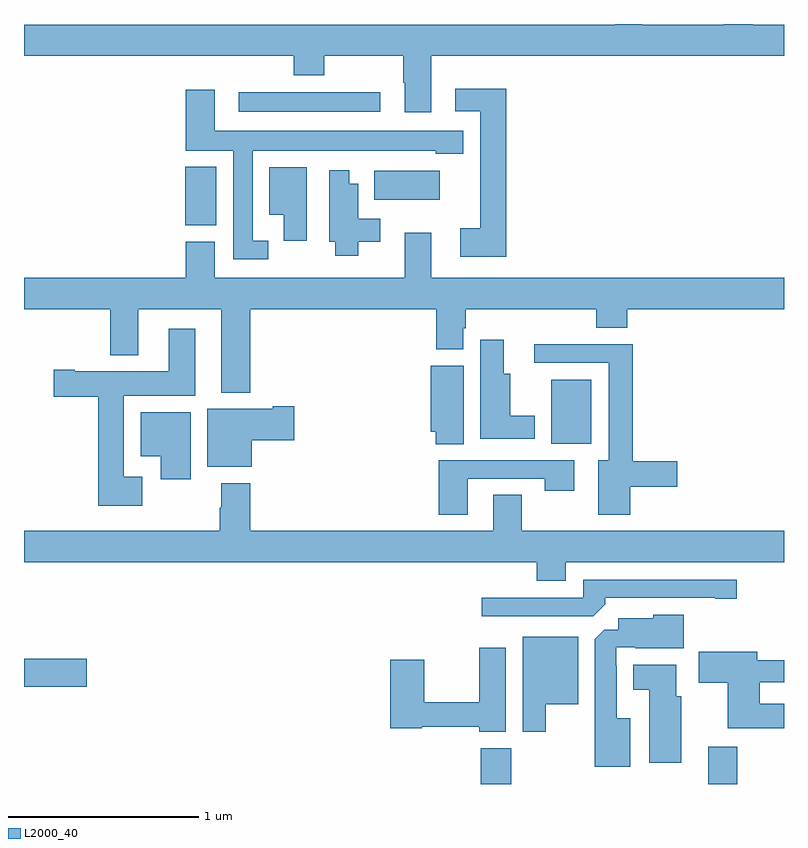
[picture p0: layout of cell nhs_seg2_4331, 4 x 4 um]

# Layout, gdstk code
import gdstk
lib = gdstk.Library(unit=1e-6, precision=1e-09)
def R(c, l, rs):  # rectangles x0, y0, x1, y1
    for r in rs: c.add(gdstk.rectangle(r[:2], r[2:], *l))
def P(c, l, *ps):  # polygons
    for p in ps: c.add(gdstk.Polygon(p, *l))
L2000_40 = (2000, 40)

nhs_seg2_4331 = lib.new_cell('nhs_seg2_4331')
R(nhs_seg2_4331, L2000_40, [(347.405,647.8,347.565,647.989), (348.602,647.8,348.755,647.995), (345,648.311,345.331,648.458), (347.774,649.592,347.986,649.927), (345.848,650.74,346.012,651.049), (346.844,650.876,347.188,651.028), (346.131,651.338,346.876,651.442)])
P(nhs_seg2_4331, L2000_40, [(347.143,651.632),(349,651.632),(349,651.796),(348.836,651.796),(348.836,651.8),(348.683,651.8),(348.683,651.796),(348.253,651.796),(348.253,651.8),(348.113,651.8),(348.113,651.796),(345,651.796),(345,651.632),(346.421,651.632),(346.421,651.53),(346.581,651.53),(346.581,651.632),(346.996,651.632),(346.996,651.492),(347.003,651.492),(347.003,651.336),(347.143,651.336)],
  [(347.537,651.46),(347.271,651.46),(347.271,651.341),(347.402,651.341),(347.402,650.724),(347.295,650.724),(347.295,650.576),(347.537,650.576)],
  [(346.286,650.658),(346.204,650.658),(346.204,651.134),(347.166,651.134),(347.166,651.116),(347.311,651.116),(347.311,651.238),(346.003,651.238),(346.003,651.454),(345.851,651.454),(345.851,651.134),(346.1,651.134),(346.1,650.562),(346.286,650.562)],
  [(346.489,651.046),(346.292,651.046),(346.292,650.795),(346.367,650.795),(346.367,650.658),(346.489,650.658)],
  [(346.759,650.654),(346.876,650.654),(346.876,650.776),(346.759,650.776),(346.759,650.959),(346.711,650.959),(346.711,651.031),(346.607,651.031),(346.607,650.654),(346.637,650.654),(346.637,650.579),(346.759,650.579)],
  [(346.19,650.3),(347.171,650.3),(347.171,650.087),(347.311,650.087),(347.311,650.199),(347.324,650.199),(347.324,650.3),(348.011,650.3),(348.011,650.201),(348.176,650.201),(348.176,650.3),(349,650.3),(349,650.464),(347.143,650.464),(347.143,650.701),(347.003,650.701),(347.003,650.464),(346.003,650.464),(346.003,650.655),(345.851,650.655),(345.851,650.464),(345,650.464),(345,650.3),(345.454,650.3),(345.454,650.057),(345.601,650.057),(345.601,650.3),(346.037,650.3),(346.037,649.859),(346.19,649.859)],
  [(345.622,649.417),(345.526,649.417),(345.526,649.844),(345.901,649.844),(345.901,650.197),(345.761,650.197),(345.761,649.972),(345.268,649.972),(345.268,649.98),(345.156,649.98),(345.156,649.838),(345.392,649.838),(345.392,649.265),(345.622,649.265)],
  [(347.689,649.738),(347.56,649.738),(347.56,649.96),(347.524,649.96),(347.524,650.137),(347.402,650.137),(347.402,649.616),(347.689,649.616)],
  [(348.19,649.364),(348.439,649.364),(348.439,649.499),(348.203,649.499),(348.203,650.114),(347.685,650.114),(347.685,650.016),(348.077,650.016),(348.077,649.504),(348.023,649.504),(348.023,649.218),(348.19,649.218)],
  [(347.314,650.002),(347.141,650.002),(347.141,649.655),(347.168,649.655),(347.168,649.588),(347.314,649.588)],
  [(346.198,649.609),(346.423,649.609),(346.423,649.787),(346.31,649.787),(346.31,649.774),(345.965,649.774),(345.965,649.469),(346.198,649.469)],
  [(345.877,649.756),(345.614,649.756),(345.614,649.526),(345.719,649.526),(345.719,649.404),(345.877,649.404)],
  [(347.335,649.407),(347.74,649.407),(347.74,649.344),(347.896,649.344),(347.896,649.503),(347.183,649.503),(347.183,649.218),(347.335,649.218)],
  [(347.851,648.968),(349,648.968),(349,649.132),(347.619,649.132),(347.619,649.322),(347.471,649.322),(347.471,649.132),(346.19,649.132),(346.19,649.384),(346.037,649.384),(346.037,649.253),(346.03,649.253),(346.03,649.132),(345,649.132),(345,648.968),(347.699,648.968),(347.699,648.869),(347.851,648.869)],
  [(348.059,648.746),(348.059,648.78),(348.638,648.78),(348.638,648.775),(348.751,648.775),(348.751,648.876),(347.943,648.876),(347.943,648.78),(347.409,648.78),(347.409,648.684),(347.997,648.684)],
  [(348.19,648.145),(348.121,648.145),(348.121,648.419),(348.117,648.419),(348.117,648.519),(348.217,648.519),(348.217,648.515),(348.472,648.515),(348.472,648.691),(348.312,648.691),(348.312,648.673),(348.128,648.673),(348.128,648.612),(348.054,648.612),(348.005,648.563),(348.005,647.891),(348.19,647.891)],
  [(347.746,648.221),(347.917,648.221),(347.917,648.574),(347.624,648.574),(347.624,648.075),(347.746,648.075)],
  [(347.536,648.517),(347.395,648.517),(347.395,648.23),(347.106,648.23),(347.106,648.454),(346.928,648.454),(346.928,648.094),(347.094,648.094),(347.094,648.102),(347.395,648.102),(347.395,648.074),(347.536,648.074)],
  [(349,648.223),(348.872,648.223),(348.872,648.336),(349,648.336),(349,648.452),(348.859,648.452),(348.859,648.496),(348.552,648.496),(348.552,648.334),(348.704,648.334),(348.704,648.094),(349,648.094)],
  [(348.46,648.261),(348.433,648.261),(348.433,648.427),(348.206,648.427),(348.206,648.296),(348.29,648.296),(348.29,647.913),(348.46,647.913)])

lib.write_gds('nhs_seg2_4331.gds')
